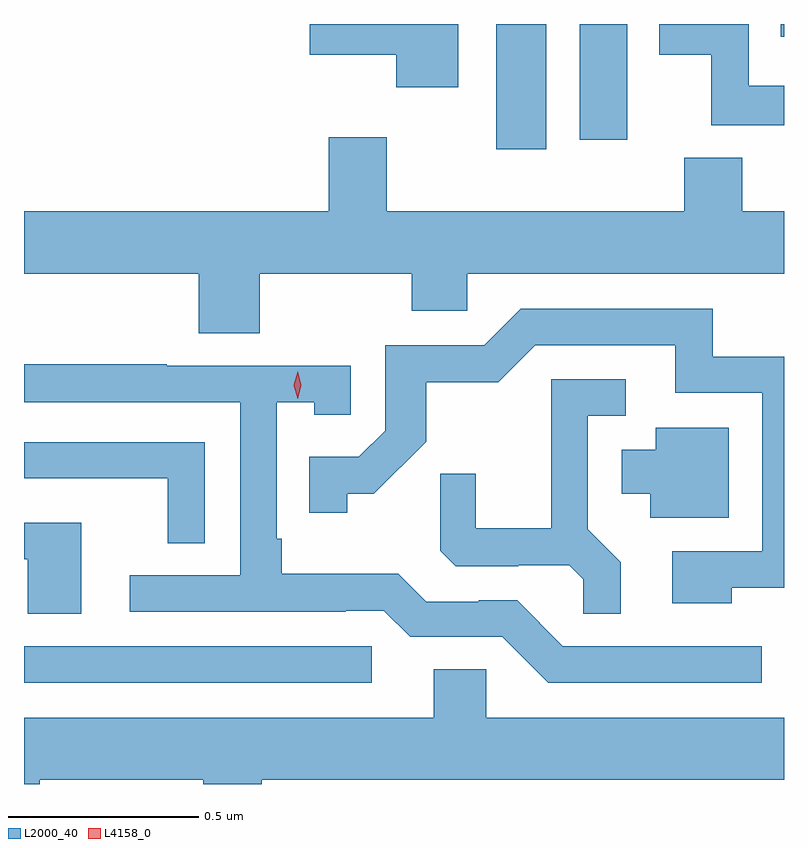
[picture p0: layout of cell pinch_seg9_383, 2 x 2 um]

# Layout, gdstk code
import gdstk
lib = gdstk.Library(unit=1e-6, precision=1e-09)
def R(c, l, rs):  # rectangles x0, y0, x1, y1
    for r in rs: c.add(gdstk.rectangle(r[:2], r[2:], *l))
def P(c, l, *ps):  # polygons
    for p in ps: c.add(gdstk.Polygon(p, *l))
L2000_40 = (2000, 40)
L4158_0 = (4158, 0)

pinch_seg9_383 = lib.new_cell('pinch_seg9_383')
R(pinch_seg9_383, L2000_40, [(372.577,1231.308,373.492,1231.404), (373.82,1232.712,373.951,1233.041), (374.039,1232.736,374.164,1233.041), (374.569,1233.008,374.577,1233.041)])
P(pinch_seg9_383, L2000_40, [(374.577,1232.878),(374.484,1232.878),(374.484,1233.041),(374.249,1233.041),(374.249,1232.96),(374.386,1232.96),(374.386,1232.774),(374.577,1232.774)],
  [(373.72,1233.041),(373.329,1233.041),(373.329,1232.96),(373.556,1232.96),(373.556,1232.874),(373.72,1232.874)],
  [(373.197,1232.384),(373.597,1232.384),(373.597,1232.286),(373.743,1232.286),(373.743,1232.384),(374.577,1232.384),(374.577,1232.548),(374.467,1232.548),(374.467,1232.689),(374.315,1232.689),(374.315,1232.548),(373.531,1232.548),(373.531,1232.743),(373.379,1232.743),(373.379,1232.548),(372.577,1232.548),(372.577,1232.384),(373.037,1232.384),(373.037,1232.227),(373.197,1232.227)],
  [(374.439,1231.557),(374.577,1231.557),(374.577,1232.166),(374.39,1232.166),(374.39,1232.292),(373.884,1232.292),(373.788,1232.196),(373.527,1232.196),(373.527,1231.971),(373.458,1231.902),(373.327,1231.902),(373.327,1231.755),(373.428,1231.755),(373.428,1231.805),(373.498,1231.805),(373.636,1231.942),(373.636,1232.098),(373.825,1232.098),(373.923,1232.196),(374.291,1232.196),(374.291,1232.07),(374.52,1232.07),(374.52,1231.653),(374.283,1231.653),(374.283,1231.517),(374.439,1231.517)],
  [(374.518,1231.404),(373.995,1231.404),(373.875,1231.524),(373.774,1231.524),(373.774,1231.521),(373.635,1231.521),(373.562,1231.594),(373.255,1231.594),(373.255,1231.687),(373.242,1231.687),(373.242,1232.045),(373.341,1232.045),(373.341,1232.013),(373.437,1232.013),(373.437,1232.142),(372.953,1232.142),(372.953,1232.145),(372.577,1232.145),(372.577,1232.046),(373.146,1232.046),(373.146,1231.59),(372.855,1231.59),(372.855,1231.494),(373.424,1231.494),(373.424,1231.497),(373.524,1231.497),(373.593,1231.428),(373.836,1231.428),(373.956,1231.308),(374.518,1231.308)],
  [(374.147,1231.625),(374.061,1231.711),(374.061,1232.01),(374.161,1232.01),(374.161,1232.106),(373.964,1232.106),(373.964,1231.714),(373.766,1231.714),(373.766,1231.857),(373.672,1231.857),(373.672,1231.655),(373.713,1231.614),(373.878,1231.614),(373.878,1231.617),(374.012,1231.617),(374.049,1231.58),(374.049,1231.489),(374.147,1231.489)],
  [(374.431,1231.978),(374.24,1231.978),(374.24,1231.921),(374.15,1231.921),(374.15,1231.805),(374.225,1231.805),(374.225,1231.742),(374.431,1231.742)],
  [(373.053,1231.941),(372.577,1231.941),(372.577,1231.845),(372.955,1231.845),(372.955,1231.675),(373.053,1231.675)],
  [(372.727,1231.728),(372.577,1231.728),(372.577,1231.632),(372.587,1231.632),(372.587,1231.489),(372.727,1231.489)],
  [(372.619,1231.052),(373.049,1231.052),(373.049,1231.041),(373.202,1231.041),(373.202,1231.052),(374.577,1231.052),(374.577,1231.216),(373.794,1231.216),(373.794,1231.343),(373.655,1231.343),(373.655,1231.216),(372.577,1231.216),(372.577,1231.041),(372.619,1231.041)])
P(pinch_seg9_383, L4158_0, [(373.297,1232.055),(373.297,1232.055),(373.287,1232.091),(373.297,1232.126),(373.297,1232.127),(373.297,1232.126),(373.307,1232.091),(373.297,1232.055)])

lib.write_gds('pinch_seg9_383.gds')
